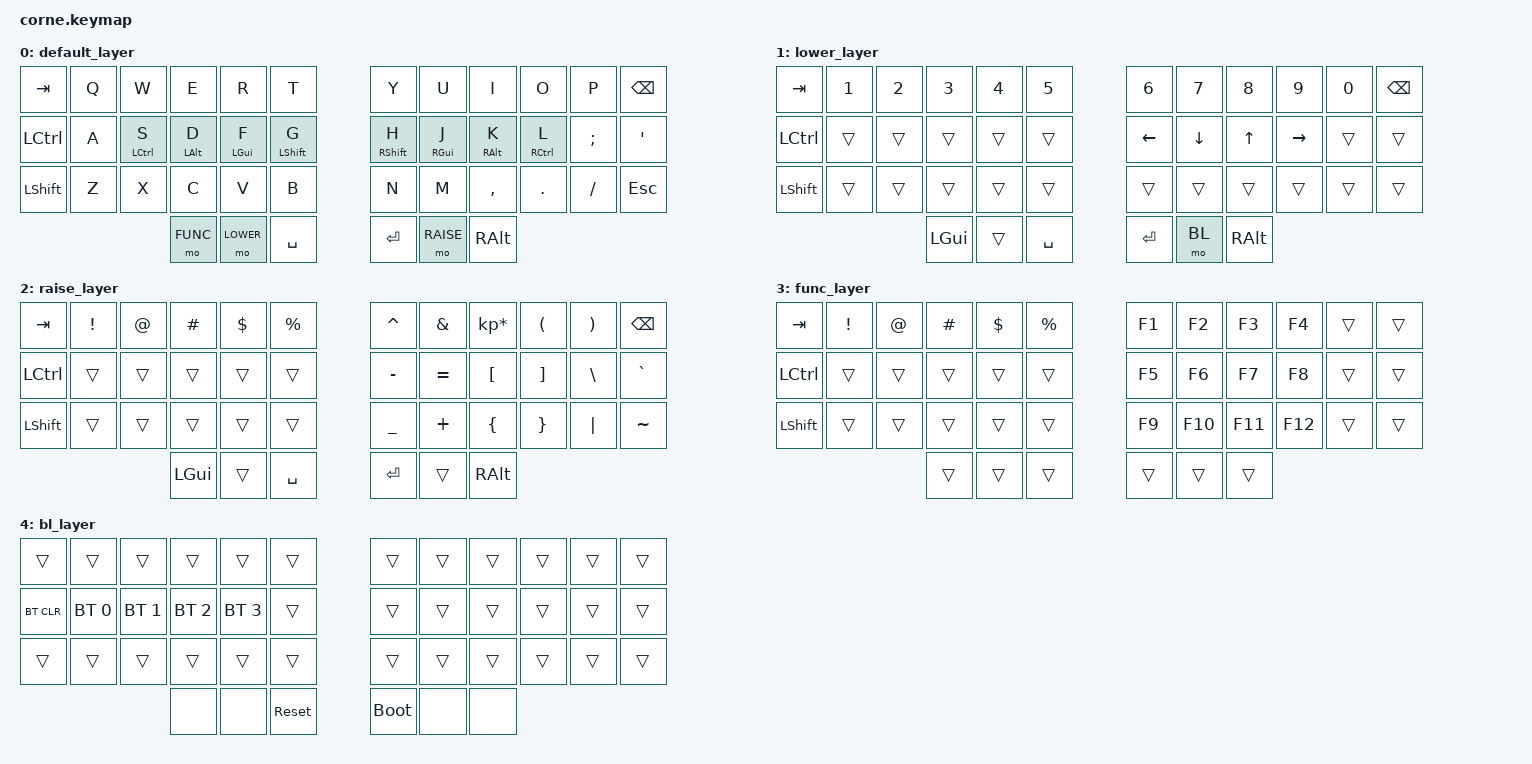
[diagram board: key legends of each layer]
/*
* Copyright (c) 2020 The ZMK Contributors
*
* SPDX-License-Identifier: MIT
*/

#include <behaviors.dtsi>
#include <dt-bindings/zmk/keys.h>
#include <dt-bindings/zmk/bt.h>

#define DEFAULT 0
#define LOWER   1
#define RAISE   2
#define FUNC    3
#define BL      4

/ {
    behaviors {
        rpi: require_prior_idle {
            compatible = "zmk,behavior-hold-tap";
            #binding-cells = <2>;
            flavor = "tap-preferred";
            tapping-term-ms = <200>;
            quick-tap-ms = <200>;
            require-prior-idle-ms = <1>;
            bindings = <&kp>, <&kp>;
        };

    };

    keymap {
        compatible = "zmk,keymap";

        default_layer {
            // -----------------------------------------------------------------------------------------
            // |  TAB |  Q  |  W  |  E  |  R  |  T  |   |  Y  |  U   |  I  |  O  |  P  | BKSP |
            // | CTRL |  A  |  CTRL/S  |  OPT/D  |  CMD/F  |  SHFT/G  |   |  SHFT/H  |  CMD/J   |  OPT/K  |  CTRL/L  |  ;  |  '   |
            // | SHFT |  Z  |  X  |  C  |  V  |  B  |   |  N  |  M   |  ,  |  .  |  /  | ESC  |
            //                    | FUNC | LWR | SPC |   | ENT | RSE  | ALT |
            bindings = <
                &kp TAB   &kp Q &kp W &kp E &kp R &kp T   &kp Y &kp U  &kp I     &kp O   &kp P    &kp BSPC
                &kp LCTRL &kp A &rpi LCTRL S &rpi LALT D &rpi LGUI F &rpi LSHIFT G   &rpi RSHIFT H &rpi RGUI J  &rpi RALT K &rpi RCTRL L   &kp SEMI &kp SQT
                &kp LSHFT &kp Z &kp X &kp C &kp V &kp B   &kp N &kp M  &kp COMMA &kp DOT &kp FSLH &kp ESC
                &mo FUNC  &mo LOWER &kp SPACE   &kp RET &mo RAISE &kp RALT
            >;
        };


        lower_layer {
            // -----------------------------------------------------------------------------------------
            // |  TAB |  1  |  2  |  3  |  4  |  5  |   |  6  |  7  |  8  |  9  |  0  | BKSP |
            // | CTRL |     |     |     |     |     |   | LFT | DWN |  UP | RGT |     |      |
            // | SHFT |     |     |     |     |     |   |     |     |     |     |     |      |
            //                    | GUI |     | SPC |   | ENT | BL  | ALT |
            bindings = <
                &kp TAB    &kp N1       &kp N2       &kp N3       &kp N4       &kp N5         &kp N6   &kp N7   &kp N8 &kp N9    &kp N0 &kp BSPC
                &kp LCTRL  &trans       &trans       &trans       &trans       &trans         &kp LEFT &kp DOWN &kp UP &kp RIGHT &trans &trans
                &kp LSHFT  &trans       &trans       &trans       &trans       &trans         &trans   &trans   &trans &trans    &trans &trans
                &kp LGUI     &trans       &kp SPACE      &kp RET  &mo BL  &kp RALT
            >;
        };

        raise_layer {
            // -----------------------------------------------------------------------------------------
            // |  TAB |  !  |  @  |  #  |  $  |  %  |   |  ^  |  &  |  *  |  (  |  )  | BKSP |
            // | CTRL |     |     |     |     |     |   |  -  |  =  |  [  |  ]  |  \  |  `   |
            // | SHFT |     |     |     |     |     |   |  _  |  +  |  {  |  }  | "|" |  ~   |
            //                    | GUI |     | SPC |   | ENT |     | ALT |
            bindings = <
                &kp  TAB  &kp EXCL &kp AT &kp HASH &kp DLLR &kp PRCNT   &kp CARET &kp AMPS  &kp KP_MULTIPLY &kp LPAR &kp RPAR &kp BSPC
                &kp LCTRL &trans   &trans &trans   &trans   &trans      &kp MINUS &kp EQUAL &kp LBKT        &kp RBKT &kp BSLH &kp GRAVE
                &kp LSHFT &trans   &trans &trans   &trans   &trans      &kp UNDER &kp PLUS  &kp LBRC        &kp RBRC &kp PIPE &kp TILDE
                &kp LGUI &trans   &kp SPACE   &kp RET   &trans    &kp RALT
            >;
        };

        func_layer {
            // -----------------------------------------------------------------------------------------
            // |  TAB |  !  |  @  |  #  |  $  |  %  |   |  ^  |  &  |  *  |  (  |  )  | BKSP |
            // | CTRL |     |     |     |     |     |   |  -  |  =  |  [  |  ]  |  \  |  `   |
            // | SHFT |     |     |     |     |     |   |  _  |  +  |  {  |  }  | "|" |  ~   |
            //                    | GUI |     | SPC |   | ENT |     | ALT |
            bindings = <
                &kp  TAB  &kp EXCL &kp AT &kp HASH &kp DLLR &kp PRCNT   &kp F1 &kp F2 &kp F3 &kp F4 &trans &trans
                &kp LCTRL &trans   &trans &trans   &trans   &trans      &kp F5 &kp F6 &kp F7 &kp F8 &trans &trans
                &kp LSHFT &trans   &trans &trans   &trans   &trans      &kp F9 &kp F10 &kp F11 &kp F12 &trans &trans
                &trans &trans   &trans &trans &trans &trans
            >;
        };



        bl_layer {
            // -----------------------------------------------------------------------------------------
            // |      |     |     |     |     |     |   |  |  |  |  |  | |
            // | BTCLR| BT1 | BT2 | BT3 | BT4 | BT5 |   |  |  |  |  |  | |
            // |      |     |     |     |     |     |   |  |  |  |  |  | |
            //                    | none | none | reset|   | bootloaer| none | none|
            bindings = <
                &trans     &trans       &trans       &trans       &trans       &trans   &trans   &trans   &trans &trans &trans &trans
                &bt BT_CLR &bt BT_SEL 0 &bt BT_SEL 1 &bt BT_SEL 2 &bt BT_SEL 3 &trans   &trans   &trans   &trans &trans &trans &trans
                &trans     &trans       &trans       &trans       &trans       &trans   &trans   &trans   &trans &trans &trans &trans
                &none &none &sys_reset &bootloader  &none &none 
            >;
        };


    };
};
